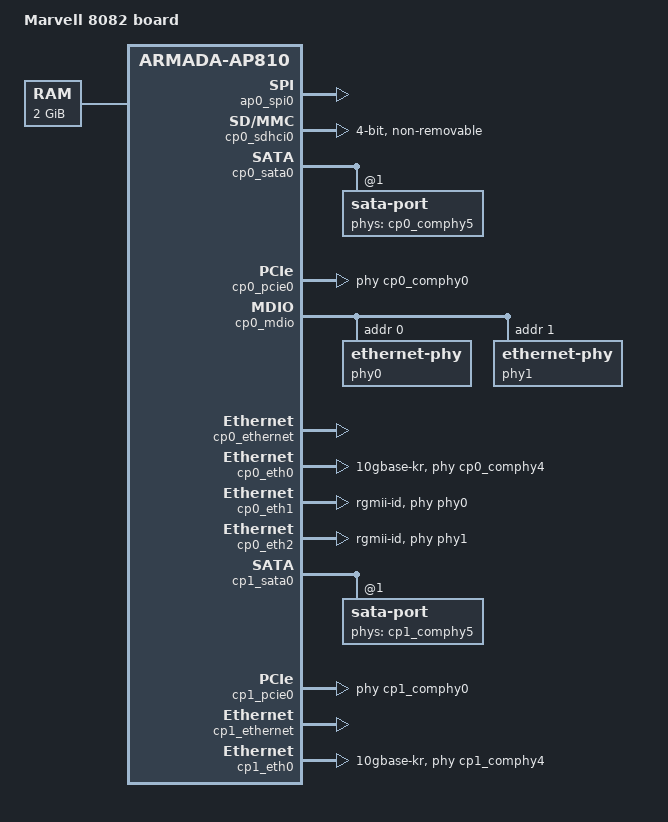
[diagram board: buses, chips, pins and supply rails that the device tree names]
/*
 * Copyright (C) 2017 Marvell Technology Group Ltd.
 *
 * This file is dual-licensed: you can use it either under the terms
 * of the GPLv2 or the X11 license, at your option. Note that this dual
 * licensing only applies to this file, and not this project as a
 * whole.
 *
 *  a) This library is free software; you can redistribute it and/or
 *     modify it under the terms of the GNU General Public License as
 *     published by the Free Software Foundation; either version 2 of the
 *     License, or (at your option) any later version.
 *
 *     This library is distributed in the hope that it will be useful,
 *     but WITHOUT ANY WARRANTY; without even the implied warranty of
 *     MERCHANTABILITY or FITNESS FOR A PARTICULAR PURPOSE.  See the
 *     GNU General Public License for more details.
 *
 * Or, alternatively,
 *
 *  b) Permission is hereby granted, free of charge, to any person
 *     obtaining a copy of this software and associated documentation
 *     files (the "Software"), to deal in the Software without
 *     restriction, including without limitation the rights to use,
 *     copy, modify, merge, publish, distribute, sublicense, and/or
 *     sell copies of the Software, and to permit persons to whom the
 *     Software is furnished to do so, subject to the following
 *     conditions:
 *
 *     The above copyright notice and this permission notice shall be
 *     included in all copies or substantial portions of the Software.
 *
 *     THE SOFTWARE IS PROVIDED "AS IS", WITHOUT WARRANTY OF ANY KIND,
 *     EXPRESS OR IMPLIED, INCLUDING BUT NOT LIMITED TO THE WARRANTIES
 *     OF MERCHANTABILITY, FITNESS FOR A PARTICULAR PURPOSE AND
 *     NONINFRINGEMENT. IN NO EVENT SHALL THE AUTHORS OR COPYRIGHT
 *     HOLDERS BE LIABLE FOR ANY CLAIM, DAMAGES OR OTHER LIABILITY,
 *     WHETHER IN AN ACTION OF CONTRACT, TORT OR OTHERWISE, ARISING
 *     FROM, OUT OF OR IN CONNECTION WITH THE SOFTWARE OR THE USE OR
 *     OTHER DEALINGS IN THE SOFTWARE.
 */

/*
 * Device Tree file for Marvell Armada-8082 Development board platform
 */

#include "armada-8082-db.dtsi"

/ {
	model = "Marvell 8082 board";
	compatible = "marvell,armada-8082-db", "marvell,armada-8082",
		     "marvell,armada-ap810-octa", "marvell,armada-ap810";

	chosen {
		stdout-path = "serial0:115200n8";
	};

	memory@00000000 {
		device_type = "memory";
		reg = <0x0 0x0 0x0 0x80000000>;
	};

	aliases {
		ethernet0 = &cp0_eth0;
		ethernet1 = &cp0_eth1;
		ethernet2 = &cp0_eth2;
		ethernet3 = &cp1_eth0;
		spi0 = &ap0_spi0;
	};
};

&ap0_spi0 {
	status = "okay";
};

&ap0_xor0 {
	status = "disabled";
};

&ap0_xor1 {
	status = "disabled";
};

&cp0_sdhci0 {
	status = "okay";
	bus-width = <4>;
	no-1-8-v;
	non-removable;
};

&cp0_sata0 {
	status = "okay";
	sata-port@1 {
		reg = <1>;
		status = "okay";
		/* Generic PHY, providing serdes lanes */
		phys = <&cp0_comphy5 1>;
	};
};

&cp0_pcie0 {
	status = "okay";
	msi-parent =<&ap0_gic_its>;

	/* Generic PHY, providing serdes lanes */
	phys = <&cp0_comphy0 0
		&cp0_comphy1 0
		&cp0_comphy2 0
		&cp0_comphy3 0>;
	phy-names = "pcie-phy0", "pcie-phy1", "pcie-phy2", "pcie-phy3";
};

&cp0_pcie1 {
	msi-parent =<&ap0_gic_its>;
};

&cp0_pcie2 {
	msi-parent =<&ap0_gic_its>;
};

&cp0_mdio {
	status = "okay";

	phy0: ethernet-phy@0 {
		reg = <0>;
	};

	phy1: ethernet-phy@1 {
		reg = <1>;
	};
};

&cp0_ethernet {
	status = "okay";
};

&cp0_eth0 {
	status = "okay";
	phy-mode = "10gbase-kr";
	/* Generic PHY, providing serdes lanes */
	phys = <&cp0_comphy4 0>;
};

&cp0_eth1 {
	status = "okay";
	phy = <&phy0>;
	phy-mode = "rgmii-id";
};

&cp0_eth2 {
	status = "okay";
	phy = <&phy1>;
	phy-mode = "rgmii-id";
};

&cp1_sata0 {
	status = "okay";
	sata-port@1 {
		reg = <1>;
		status = "okay";
		/* Generic PHY, providing serdes lanes */
		phys = <&cp1_comphy5 1>;
	};
};

&cp1_pcie0 {
	status = "okay";
	msi-parent =<&ap0_gic_its>;

	/* Generic PHY, providing serdes lanes */
	phys = <&cp1_comphy0 0
		&cp1_comphy1 0
		&cp1_comphy2 0
		&cp1_comphy3 0>;
	phy-names = "pcie-phy0", "pcie-phy1", "pcie-phy2", "pcie-phy3";
};

&cp1_pcie1 {
	msi-parent =<&ap0_gic_its>;
};

&cp1_pcie2 {
	msi-parent =<&ap0_gic_its>;
};

&cp1_ethernet {
	status = "okay";
};

&cp1_eth0 {
	status = "okay";
	phy-mode = "10gbase-kr";
	/* Generic PHY, providing serdes lanes */
	phys = <&cp1_comphy4 0>;
};
